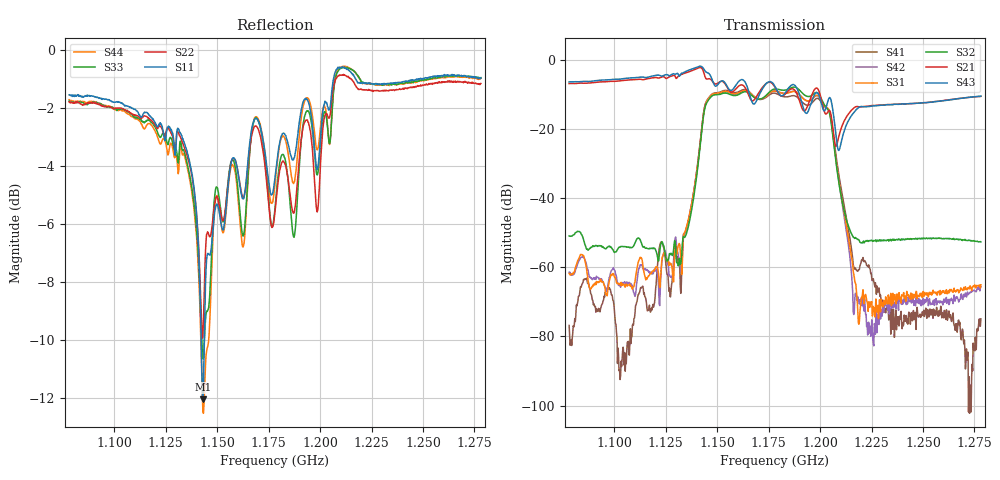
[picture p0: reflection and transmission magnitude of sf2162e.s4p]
# Hz S RI R 50
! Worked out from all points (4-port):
!   801 points, 1.078 GHz to 1.278 GHz, reference 50 ohm
!   strongest paths, dB at 1.078 GHz, 1.128 GHz, 1.178 GHz, 1.228 GHz, 1.278 GHz:
!     S43: -6.3, -4.1, -7.6, -13.2, -10.4
!     S21: -6.8, -4.6, -7.9, -13.1, -10.5
!     S32: -50.9, -56.5, -8.4, -52.3, -52.6
!     S31: -61.8, -60.0, -9.0, -71.0, -65.1
!     S42: -61.4, -62.6, -9.0, -73.8, -65.6
!     S41: -76.8, -64.2, -9.6, -67.2, -74.9
!   lowest |S11| = -12.1 dB at 1.143 GHz (marker M1), VSWR 1.67, Z = 32.7 - j11.6 ohm
!   |S11| at or under -10 dB: 1.142258 GHz to 1.143782 GHz (1.524 MHz wide, 0.133 % of centre)
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1.07812e9  -0.5705 -0.6121  0.2969 -0.3477  0.000366 0.000737  -6.98e-05 -0.000116
           0.2964 -0.3475  -0.6228 -0.5243  0.00166 -0.00231  0.000588 0.00063
           0.000371 0.000722  0.00168 -0.00231  -0.6154 -0.5369  0.3063 -0.374
           -6.88e-05 -0.000127  0.000562 0.000638  0.305 -0.3727  -0.5832 -0.5779
1.13162e9  -0.6146 -0.3826  0.2514 -0.5422  0.00193 0.00105  -0.000823 -0.000996
           0.2522 -0.5428  -0.6464 -0.2999  -0.00011 -0.00132  0.00117 0.00015
           0.00195 0.00106  -0.000125 -0.00134  -0.5814 -0.3313  0.1856 -0.5549
           -0.000823 -0.000967  0.0012 0.000145  0.1847 -0.5532  -0.5338 -0.3605
1.14312e9  -0.1864 -0.166  -0.1784 -0.6903  0.0968 -0.1086  -0.1116 0.0974
           -0.1777 -0.693  -0.2557 -0.1954  -0.0737 0.1148  0.0902 -0.1076
           0.0964 -0.1084  -0.073 0.1143  -0.2521 -0.1499  -0.161 -0.7567
           -0.1116 0.0978  0.0903 -0.1079  -0.1598 -0.7583  -0.2055 -0.1194
1.19987e9  -0.2664 -0.6254  -0.2124 -0.2501  0.2589 0.1248  -0.2436 -0.1049
           -0.2126 -0.2499  -0.2483 -0.547  -0.2722 -0.1417  0.2577 0.1185
           0.258 0.1235  -0.2721 -0.141  -0.2816 -0.6021  -0.1645 -0.2341
           -0.243 -0.1043  0.2587 0.1189  -0.1654 -0.2334  -0.3168 -0.6419
1.21862e9  -0.5669 -0.6704  0.0949 -0.1887  5.19e-05 0.000195  0.000693 0.000581
           0.0945 -0.1893  -0.6165 -0.5925  0.00171 -0.00183  -0.000233 -0.00023
           2.85e-05 0.000155  0.00174 -0.00184  -0.6151 -0.6557  0.11 -0.1716
           0.0007 0.000601  -0.000252 -0.000215  0.1094 -0.1724  -0.585 -0.6821
1.22512e9  -0.5728 -0.6607  0.0942 -0.1981  -0.000186 0.000284  0.000692 0.000142
           0.0937 -0.198  -0.6257 -0.5786  0.00166 -0.00186  4.58e-05 0.000124
           -0.000167 0.000272  0.00165 -0.00184  -0.6072 -0.6278  0.0927 -0.1945
           0.000679 0.000172  2.01e-05 0.000173  0.0921 -0.195  -0.5736 -0.658
1.27812e9  -0.6954 -0.5621  0.1467 -0.2594  0.000238 0.000519  -0.000133 -0.000127
           0.1473 -0.2594  -0.743 -0.4633  0.00121 -0.00199  0.000365 0.000333
           0.000234 0.000507  0.00124 -0.00198  -0.734 -0.5142  0.1509 -0.2594
           -0.000109 -0.000143  0.000399 0.000343  0.1491 -0.2613  -0.7022 -0.5524
